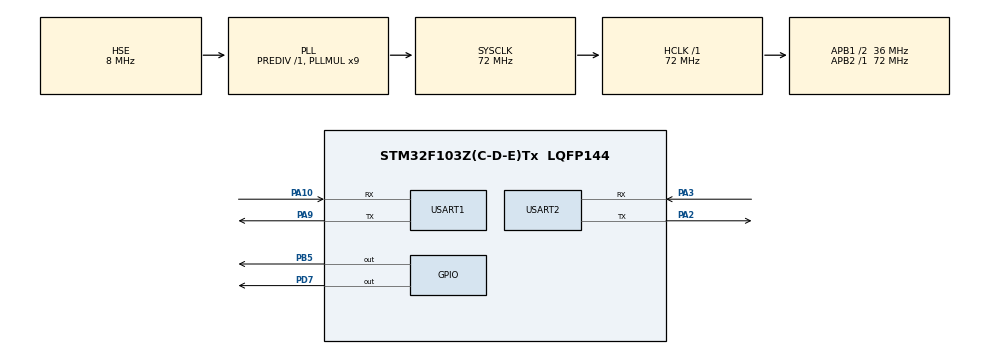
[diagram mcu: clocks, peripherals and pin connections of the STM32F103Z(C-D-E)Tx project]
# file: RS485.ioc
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Mcu.Family=STM32F1
Mcu.Name=STM32F103Z(C-D-E)Tx
Mcu.Package=LQFP144
NVIC.PriorityGroup=NVIC_PRIORITYGROUP_4
NVIC.USART1_IRQn=true\:0\:0\:false\:false\:true\:true\:true\:true
NVIC.USART2_IRQn=true\:0\:0\:false\:false\:true\:true\:true\:true
OSC_IN.Mode=HSE-External-Oscillator
OSC_IN.Signal=RCC_OSC_IN
OSC_OUT.Mode=HSE-External-Oscillator
OSC_OUT.Signal=RCC_OSC_OUT
PA10.Mode=Asynchronous
PA10.Signal=USART1_RX
PA13.Mode=Serial_Wire
PA13.Signal=SYS_JTMS-SWDIO
PA14.Mode=Serial_Wire
PA14.Signal=SYS_JTCK-SWCLK
PA2.Mode=Asynchronous
PA2.Signal=USART2_TX
PA3.Mode=Asynchronous
PA3.Signal=USART2_RX
PA9.Mode=Asynchronous
PA9.Signal=USART1_TX
PB5.Signal=GPIO_Output
PD7.GPIO_PuPd=GPIO_PULLUP
PD7.GPIO_Speed=GPIO_SPEED_FREQ_HIGH
PD7.Signal=GPIO_Output
ProjectManager.HeapSize=0x200
ProjectManager.StackSize=0x400
ProjectManager.TargetToolchain=MDK-ARM V5.32
RCC.AHBFreq_Value=72000000
RCC.APB1CLKDivider=RCC_HCLK_DIV2
RCC.APB1Freq_Value=36000000
RCC.APB1TimFreq_Value=72000000
RCC.APB2Freq_Value=72000000
RCC.APB2TimFreq_Value=72000000
RCC.HCLKFreq_Value=72000000
RCC.PLLMUL=RCC_PLL_MUL9
RCC.PLLSourceVirtual=RCC_PLLSOURCE_HSE
RCC.SYSCLKFreq_VALUE=72000000
RCC.SYSCLKSource=RCC_SYSCLKSOURCE_PLLCLK
RCC.USBFreq_Value=72000000
USART1.VirtualMode=VM_ASYNC
USART2.VirtualMode=VM_ASYNC
board=custom

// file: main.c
/* USER CODE BEGIN Header */
/**
 ******************************************************************************
 * @file           : main.c
 * @brief          : Main program body
 ******************************************************************************
 * @attention
 *
 * Copyright (c) 2023 STMicroelectronics.
 * All rights reserved.
 *
 * This software is licensed under terms that can be found in the LICENSE file
 * in the root directory of this software component.
 * If no LICENSE file comes with this software, it is provided AS-IS.
 *
 ******************************************************************************
 */
/* USER CODE END Header */
#include "main.h"
#include "usart.h"
#include "gpio.h"

/* USER CODE BEGIN Includes */
#include <stdio.h>
#include <string.h>
/* USER CODE END Includes */

/* USER CODE BEGIN PD */
#define RS485_TX_ENABLE()                             \
  HAL_Delay(1);                                       \
  HAL_GPIO_WritePin(GPIOD, GPIO_PIN_7, GPIO_PIN_SET); \
  HAL_Delay(1);
#define RS485_RX_ENABLE()                               \
  HAL_Delay(1);                                         \
  HAL_GPIO_WritePin(GPIOD, GPIO_PIN_7, GPIO_PIN_RESET); \
  HAL_Delay(1);
/* USER CODE END PD */

/* USER CODE BEGIN PV */
uint8_t rx_data[4] = {0};
/* USER CODE END PV */

void SystemClock_Config(void);
/* USER CODE BEGIN PFP */
void RS485_Init(void)
{
  // 使能串口接收中断
  HAL_UART_Receive_IT(&huart2, rx_data, 4);
  RS485_RX_ENABLE();
}

void RS485_SendData(uint8_t data[4])
{
  RS485_TX_ENABLE();
  HAL_UART_Transmit(&huart2, (uint8_t *)data, strlen(rx_data), 50);
  HAL_Delay(1);
  RS485_RX_ENABLE();
}
/* USER CODE END PFP */

/* USER CODE BEGIN 0 */
void HAL_UART_RxCpltCallback(UART_HandleTypeDef *huart)
{
  if (huart->Instance == USART2)
  {
    char temp[20];
    sprintf(temp, "rx_data[0] = 0x%02x\r\n", rx_data[0]);
    HAL_UART_Transmit(&huart1, (uint8_t *)temp, strlen(temp), 50);

    sprintf(temp, "rx_data[1] = 0x%02x\r\n", rx_data[1]);
    HAL_UART_Transmit(&huart1, (uint8_t *)temp, strlen(temp), 50);

    sprintf(temp, "rx_data[2] = 0x%02x\r\n", rx_data[2]);
    HAL_UART_Transmit(&huart1, (uint8_t *)temp, strlen(temp), 50);

    sprintf(temp, "rx_data[3] = 0x%02x\r\n", rx_data[3]);
    HAL_UART_Transmit(&huart1, (uint8_t *)temp, strlen(temp), 50);

    memset(rx_data, 0, 4);
    HAL_UART_Receive_IT(&huart2, rx_data, 4);
  }
}
/* USER CODE END 0 */

int main(void)
{

  /* MCU Configuration--------------------------------------------------------*/

  /* Reset of all peripherals, Initializes the Flash interface and the Systick. */
  HAL_Init();

  /* Configure the system clock */
  SystemClock_Config();

  /* Initialize all configured peripherals */
  MX_GPIO_Init();
  MX_USART1_UART_Init();
  MX_USART2_UART_Init();
  /* USER CODE BEGIN 2 */
  RS485_Init();

  uint8_t data[4] = {0x01, 0x02, 0x03, 0x04};

  char temp[20];
  sprintf(temp, "Transmiting data...\r\n");
  HAL_UART_Transmit(&huart1, (uint8_t *)temp, strlen(temp), 50);
  /* USER CODE END 2 */

  /* Infinite loop */
  while (1)
  {

    /* USER CODE BEGIN 3 */
    RS485_SendData(data);
    HAL_GPIO_TogglePin(GPIOB, GPIO_PIN_5);
    HAL_Delay(1000);
  }
  /* USER CODE END 3 */
}

void SystemClock_Config(void)
{
  RCC_OscInitTypeDef RCC_OscInitStruct = {0};
  RCC_ClkInitTypeDef RCC_ClkInitStruct = {0};

  /** Initializes the RCC Oscillators according to the specified parameters
   * in the RCC_OscInitTypeDef structure.
   */
  RCC_OscInitStruct.OscillatorType = RCC_OSCILLATORTYPE_HSE;
  RCC_OscInitStruct.HSEState = RCC_HSE_ON;
  RCC_OscInitStruct.HSEPredivValue = RCC_HSE_PREDIV_DIV1;
  RCC_OscInitStruct.HSIState = RCC_HSI_ON;
  RCC_OscInitStruct.PLL.PLLState = RCC_PLL_ON;
  RCC_OscInitStruct.PLL.PLLSource = RCC_PLLSOURCE_HSE;
  RCC_OscInitStruct.PLL.PLLMUL = RCC_PLL_MUL9;
  if (HAL_RCC_OscConfig(&RCC_OscInitStruct) != HAL_OK)
  {
    Error_Handler();
  }

  /** Initializes the CPU, AHB and APB buses clocks
   */
  RCC_ClkInitStruct.ClockType = RCC_CLOCKTYPE_HCLK | RCC_CLOCKTYPE_SYSCLK | RCC_CLOCKTYPE_PCLK1 | RCC_CLOCKTYPE_PCLK2;
  RCC_ClkInitStruct.SYSCLKSource = RCC_SYSCLKSOURCE_PLLCLK;
  RCC_ClkInitStruct.AHBCLKDivider = RCC_SYSCLK_DIV1;
  RCC_ClkInitStruct.APB1CLKDivider = RCC_HCLK_DIV2;
  RCC_ClkInitStruct.APB2CLKDivider = RCC_HCLK_DIV1;

  if (HAL_RCC_ClockConfig(&RCC_ClkInitStruct, FLASH_LATENCY_2) != HAL_OK)
  {
    Error_Handler();
  }
}

void Error_Handler(void)
{
  __disable_irq();
  while (1)
  {
  }
}
